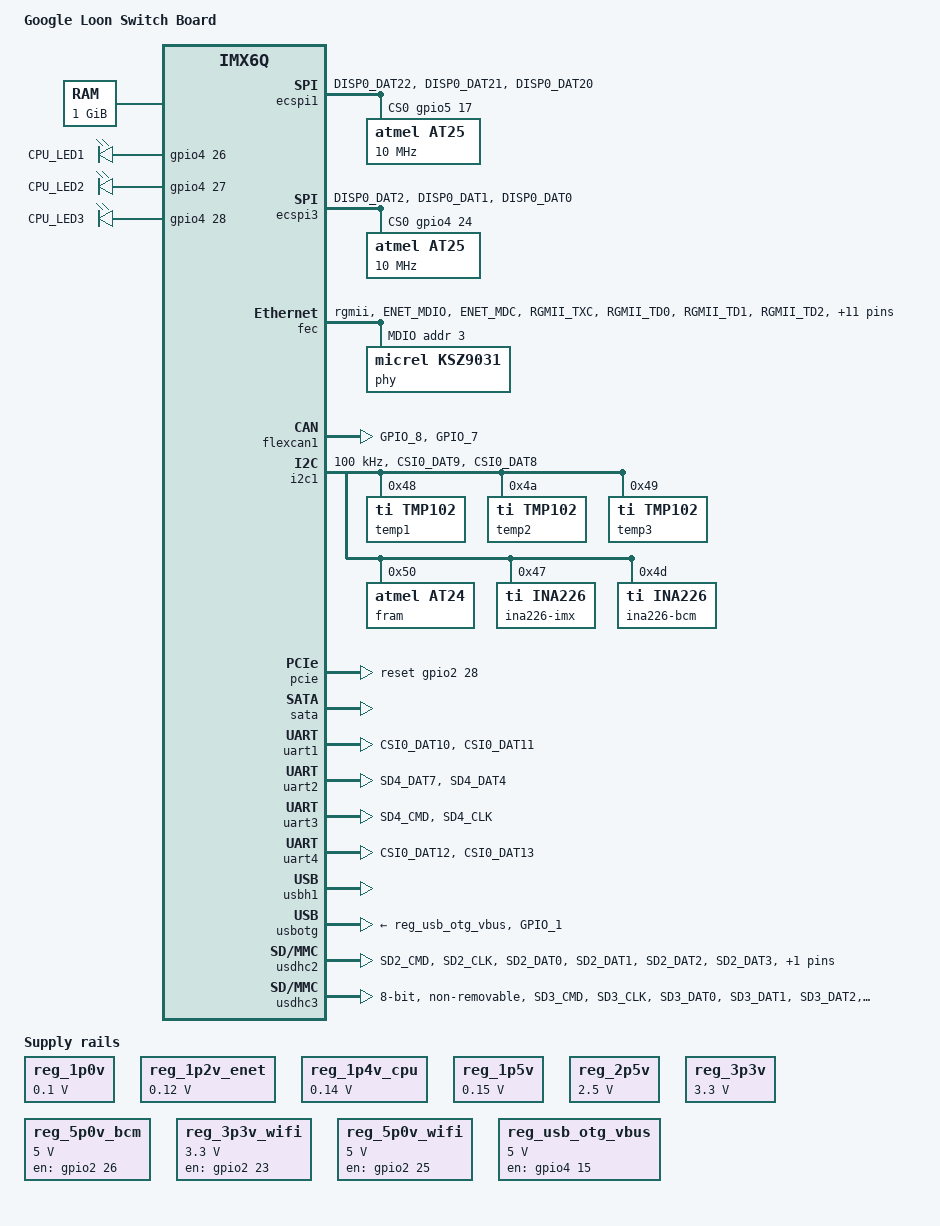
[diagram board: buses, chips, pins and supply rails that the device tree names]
/*
 * Copyright 2016 Google, Inc.
 *
 * Author: Warranyu Walton <wwalton@celerityeds.com>
 *
 * This program is free software; you can redistribute it and/or modify
 * it under the terms of the GNU General Public License version 2 as
 * published by the Free Software Foundation.
 *
 */

/dts-v1/;
#include "imx6q.dtsi"
#include <dt-bindings/gpio/gpio.h>

/ {
	model = "Google Loon Switch Board";
	compatible = "fsl,imx6q-loonswitch", "fsl,imx6q";

	memory {
		reg = <0x10000000 0x40000000>;
	};

	leds {
		compatible = "gpio-leds";
		cpu-led1 {
			label = "CPU_LED1";
			gpios = <&gpio4 26 0>;
		};
		cpu-led2 {
			label = "CPU_LED2";
			gpios = <&gpio4 27 0>;
		};
		cpu-led3 {
			label = "CPU_LED3";
			gpios = <&gpio4 28 0>;
		};
	};

	regulators {
		compatible = "simple-bus";
		#address-cells = <1>;
		#size-cells = <0>;

		reg_1p0v: regulator@0 {
			compatible = "regulator-fixed";
			reg = <0>;
			regulator-name = "1P0V";
			regulator-min-microvolt = <100000>;
			regulator-max-microvolt = <100000>;
			regulator-always-on;
		};

		reg_1p2v_enet: regulator@1 {
			compatible = "regulator-fixed";
			reg = <1>;
			regulator-name = "ENET_1P2V";
			regulator-min-microvolt = <120000>;
			regulator-max-microvolt = <120000>;
			regulator-always-on;
		};

		reg_1p4v_cpu: regulator@2 {
			compatible = "regulator-fixed";
			reg = <2>;
			regulator-name = "CPU_1P4V";
			regulator-min-microvolt = <140000>;
			regulator-max-microvolt = <140000>;
			regulator-always-on;
		};

		reg_1p5v: regulator@3 {
			compatible = "regulator-fixed";
			reg = <3>;
			regulator-name = "1P5V";
			regulator-min-microvolt = <150000>;
			regulator-max-microvolt = <150000>;
			regulator-always-on;
		};

		reg_2p5v: regulator@4 {
			compatible = "regulator-fixed";
			reg = <4>;
			regulator-name = "2P5V";
			regulator-min-microvolt = <2500000>;
			regulator-max-microvolt = <2500000>;
			regulator-always-on;
		};

		reg_3p3v: regulator@5 {
			compatible = "regulator-fixed";
			reg = <5>;
			regulator-name = "3P3V";
			regulator-min-microvolt = <3300000>;
			regulator-max-microvolt = <3300000>;
			regulator-always-on;
		};

		reg_5p0v_bcm: regulator@6 {
			compatible = "regulator-fixed";
			reg = <6>;
			regulator-name = "BCM_5P0V";
			regulator-min-microvolt = <5000000>;
			regulator-max-microvolt = <5000000>;
			gpio = <&gpio2 26 0>;
			enable-active-high;
		};

		reg_3p3v_wifi: regulator@7 {
			compatible = "regulator-fixed";
			reg = <7>;
			regulator-name = "WIFI_3P3V";
			regulator-min-microvolt = <3300000>;
			regulator-max-microvolt = <3300000>;
			gpio = <&gpio2 23 0>;
			enable-active-high;
		};

		reg_5p0v_wifi: regulator@8 {
			compatible = "regulator-fixed";
			reg = <8>;
			regulator-name = "WIFI_5P0V";
			regulator-min-microvolt = <5000000>;
			regulator-max-microvolt = <5000000>;
			gpio = <&gpio2 25 0>;
			enable-active-high;
		};

		reg_usb_otg_vbus: regulator@9 {
			compatible = "regulator-fixed";
			reg = <9>;
			regulator-name = "usb_otg_vbus";
			regulator-min-microvolt = <5000000>;
			regulator-max-microvolt = <5000000>;
			gpio = <&gpio4 15 0>;
			enable-active-high;
		};
	};
};

&ecspi1 {
	fsl,spi-num-chipselects = <1>;
	cs-gpios = <&gpio5 17 0>;
	pinctrl-names = "default";
	pinctrl-0 = <&pinctrl_ecspi1>;
	status = "okay";

	at25@0x00 {
		compatible = "atmel,at25", "st,m95256";
		reg = <0>;
		spi-max-frequency = <10000000>;
		spi-cpha;
		spi-cpol;

		pagesize = <64>;
		size = <131072>;
		address-width = <16>;
	};

};

&ecspi3 {
	fsl,spi-num-chipselects = <1>;
	cs-gpios = <&gpio4 24 0>;
	pinctrl-names = "default";
	pinctrl-0 = <&pinctrl_ecspi3>;
	status = "okay";

	at25@0x00 {
		compatible = "atmel,at25", "st,m95256";
		reg = <0>;
		spi-max-frequency = <10000000>;
		spi-cpha;
		spi-cpol;
		read-only;

		pagesize = <64>;
		size = <262144>;
		address-width = <16>;
	};	
};

&fec {
	pinctrl-names = "default";
	pinctrl-0 = <&pinctrl_enet>;
	phy-mode = "rgmii";
	status = "okay";
	phy-reset-gpios = <&gpio1 25 0>;
	local-mac-address = [00 0A 35 00 01 24];
	mdio {
		#address-cells = <1>;
		#size-cells = <0>;

		phy: phy@3{
			compatible = "micrel,ksz9031";
			device_type = "ethernet-phy";
			reg = <0x3>;
		};
	};
};

&flexcan1 {
	pinctrl-names = "default";
	pinctrl-0 = <&pinctrl_flexcan1>;
	status = "okay";
};

&i2c1 {
	clock-frequency = <100000>;
	pinctrl-names = "default";
	pinctrl-0 = <&pinctrl_i2c1>;
	status = "okay";

	temp1: tmp102@48 {
		compatible = "ti,tmp102";
		reg = <0x48>;
	};

	temp2: tmp102@4A {
		compatible = "ti,tmp102";
		reg = <0x4A>;
	};

	temp3: tmp102@49 {
		compatible = "ti,tmp102";
		reg = <0x49>;
	};

	fram: eeprom@50 {
	compatible = "atmel,at24";
	reg = <0x50>;
	pagesize = <256>;
	};

	ina226-imx@47 {
		compatible = "ti,ina226";
		reg = <0x47>;
		shunt-resistor = <7000>;
	};

	ina226-bcm@4D {
	compatible = "ti,ina226";
	reg = <0x4D>;
	shunt-resistor = <12000>;
	};

};


&iomuxc {

	uart1 {
		pinctrl_uart1: uart1grp {
			fsl,pins = <
				MX6QDL_PAD_CSI0_DAT10__UART1_TX_DATA	0x1b0b1
				MX6QDL_PAD_CSI0_DAT11__UART1_RX_DATA	0x1b0b1
			>;
		};
	};

	uart2 {
		pinctrl_uart2: uart2grp {
			fsl,pins = <
				MX6QDL_PAD_SD4_DAT7__UART2_TX_DATA	0x1b0b1
				MX6QDL_PAD_SD4_DAT4__UART2_RX_DATA	0x1b0b1
			>;
		};
	};

	uart3 {
		pinctrl_uart3: uart3grp {
			fsl,pins = <
				MX6QDL_PAD_SD4_CMD__UART3_TX_DATA	0x1b0b1
				MX6QDL_PAD_SD4_CLK__UART3_RX_DATA	0x1b0b1
			>;
		};
	};

	uart4 {
		pinctrl_uart4: uart4grp {
			fsl,pins = <
				MX6QDL_PAD_CSI0_DAT12__UART4_TX_DATA	0x1b0b1
				MX6QDL_PAD_CSI0_DAT13__UART4_RX_DATA	0x1b0b1
			>;
		};
	};


	i2c1 {
		pinctrl_i2c1: i2c1grp {
			fsl,pins = <
				MX6QDL_PAD_CSI0_DAT9__I2C1_SCL  0x4001b8b1
				MX6QDL_PAD_CSI0_DAT8__I2C1_SDA  0x4001b8b1
			>;
		};
	};

	i2c2 {
		pinctrl_i2c2: i2c2grp {
			fsl,pins = <
				MX6QDL_PAD_KEY_COL3__I2C2_SCL  0x4001b8b1
				MX6QDL_PAD_KEY_ROW3__I2C2_SDA  0x4001b8b1
			>;
		};
	};

	i2c3 {
		pinctrl_i2c3: i2c3grp {
			fsl,pins = <
				MX6QDL_PAD_GPIO_5__I2C3_SCL  0x4001b8b1
				MX6QDL_PAD_GPIO_6__I2C3_SDA  0x4001b8b1
			>;
		};
	};

	usdhc2 {
		pinctrl_usdhc2: usdhc2grp {
			fsl,pins = <
				MX6QDL_PAD_SD2_CMD__SD2_CMD    0x17059
				MX6QDL_PAD_SD2_CLK__SD2_CLK    0x10059
				MX6QDL_PAD_SD2_DAT0__SD2_DATA0 0x17059
				MX6QDL_PAD_SD2_DAT1__SD2_DATA1 0x17059
				MX6QDL_PAD_SD2_DAT2__SD2_DATA2 0x17059
				MX6QDL_PAD_SD2_DAT3__SD2_DATA3 0x17059
			>;
		};
	};

	usdhc3 {
		pinctrl_usdhc3: usdhc3grp {
			fsl,pins = <
				MX6QDL_PAD_SD3_CMD__SD3_CMD 0x170F9
				MX6QDL_PAD_SD3_CLK__SD3_CLK 0x100F9
				MX6QDL_PAD_SD3_DAT0__SD3_DATA0 0x170F9
				MX6QDL_PAD_SD3_DAT1__SD3_DATA1 0x170F9
				MX6QDL_PAD_SD3_DAT2__SD3_DATA2 0x170F9
				MX6QDL_PAD_SD3_DAT3__SD3_DATA3 0x170F9
				MX6QDL_PAD_SD3_DAT4__SD3_DATA4 0x170F9
				MX6QDL_PAD_SD3_DAT5__SD3_DATA5 0x170F9
				MX6QDL_PAD_SD3_DAT6__SD3_DATA6 0x170F9
				MX6QDL_PAD_SD3_DAT7__SD3_DATA7 0x170F9
			>;
		};
	};

	pinctrl_usbotg: usbotggrp {
			fsl,pins = <
				MX6QDL_PAD_GPIO_1__USB_OTG_ID		0x17059
			>;
		};

	ecspi1 {

		pinctrl_ecspi1_cs: ecspi1_cs_grp {
			fsl,pins = <
				MX6QDL_PAD_DISP0_DAT23__GPIO5_IO17 0x80000000
			>;
		};

		pinctrl_ecspi1: ecspi1grp {
			fsl,pins = <
				MX6QDL_PAD_DISP0_DAT22__ECSPI1_MISO 0x100b1
				MX6QDL_PAD_DISP0_DAT21__ECSPI1_MOSI 0x100b1
				MX6QDL_PAD_DISP0_DAT20__ECSPI1_SCLK 0x100b1
			>;
		};
	};

	ecspi3 {

		pinctrl_ecspi3_cs: ecspi3_cs_grp {
			fsl,pins = <
				MX6QDL_PAD_DISP0_DAT3__GPIO4_IO24 0x80000000
			>;
		};

		pinctrl_ecspi3: ecspi3grp {
			fsl,pins = <
				MX6QDL_PAD_DISP0_DAT2__ECSPI3_MISO 0x100b1
				MX6QDL_PAD_DISP0_DAT1__ECSPI3_MOSI 0x100b1
				MX6QDL_PAD_DISP0_DAT0__ECSPI3_SCLK 0x100b1
			>;
		};
	};

	enet {

		pinctrl_enet: enetgrp {
			fsl,pins = <
				MX6QDL_PAD_ENET_MDIO__ENET_MDIO       0x1b0b0
				MX6QDL_PAD_ENET_MDC__ENET_MDC         0x1b0b0
				MX6QDL_PAD_RGMII_TXC__RGMII_TXC       0x1b0b0
				MX6QDL_PAD_RGMII_TD0__RGMII_TD0       0x1b0b0
				MX6QDL_PAD_RGMII_TD1__RGMII_TD1       0x1b0b0
				MX6QDL_PAD_RGMII_TD2__RGMII_TD2       0x1b0b0
				MX6QDL_PAD_RGMII_TD3__RGMII_TD3       0x1b0b0
				MX6QDL_PAD_RGMII_TX_CTL__RGMII_TX_CTL 0x1b0b0
				MX6QDL_PAD_ENET_REF_CLK__ENET_TX_CLK  0x1b0b0
				MX6QDL_PAD_RGMII_RXC__RGMII_RXC       0x1b0b0
				MX6QDL_PAD_RGMII_RD0__RGMII_RD0       0x1b0b0
				MX6QDL_PAD_RGMII_RD1__RGMII_RD1       0x1b0b0
				MX6QDL_PAD_RGMII_RD2__RGMII_RD2       0x1b0b0
				MX6QDL_PAD_RGMII_RD3__RGMII_RD3       0x1b0b0
				MX6QDL_PAD_RGMII_RX_CTL__RGMII_RX_CTL 0x1b0b0
				MX6QDL_PAD_ENET_CRS_DV__GPIO1_IO25    0x80000000
			>;
		};
	};

	flexcan1 {
		pinctrl_flexcan1: flexcan1grp {
			fsl,pins = <
				MX6QDL_PAD_GPIO_8__FLEXCAN1_RX 0x80000000
				MX6QDL_PAD_GPIO_7__FLEXCAN1_TX 0x80000000
			>;
		};
	};
};

&pcie {
	reset-gpio = <&gpio2 28 0>;	
	status = "okay";
};

&sata {
	status = "okay";
};

&uart1 {
	pinctrl-names = "default";
	pinctrl-0 = <&pinctrl_uart1>;
	status = "okay";
};

&uart2 {
	pinctrl-names = "default";
	pinctrl-0 = <&pinctrl_uart2>;
	status = "okay";
};

&uart3 {
	pinctrl-names = "default";
	pinctrl-0 = <&pinctrl_uart3>;
	status = "okay";
};

&uart4 {
	pinctrl-names = "default";
	pinctrl-0 = <&pinctrl_uart4>;
	status = "okay";
};

&usbh1 {
	status = "okay";
};

&usbotg {
	vbus-supply = <&reg_usb_otg_vbus>;
	pinctrl-names = "default";
	pinctrl-0 = <&pinctrl_usbotg>;
	disable-over-current;
	srp-disable;
	hnp-disable;
	adp-disable;
	status = "okay";
};

&usdhc2 {
	pinctrl-names = "default";
	pinctrl-0 = <&pinctrl_usdhc2>;
	cd-gpios = <&gpio2 2 0>;
	status = "okay";
};

&usdhc3 {
	pinctrl-names = "default";
	pinctrl-0 = <&pinctrl_usdhc3>;
	bus-width = <8>;
	non-removable;
	status = "okay";
};

&cpu0 {
    arm-supply = <&reg_arm>;
    soc-supply = <&reg_soc>;
    pu-supply = <&pu_dummy>; /* use pu_dummy if VDDSOC share with VDDPU */
};
 
&gpc {
    fsl,ldo-bypass = <0>; /* use ldo-bypass, u-boot will check it and configure */
    fsl,wdog-reset = <1>; /* watchdog select of reset source */
    pu-supply = <&pu_dummy>; /* ldo-bypass:use pu_dummy if VDDSOC share with VDDPU */
};
 
&gpu {
    pu-supply = <&pu_dummy>; /* ldo-bypass:use pu_dummy if VDDSOC share with VDDPU */
};
 
&vpu {
    pu-supply = <&pu_dummy>; /* ldo-bypass:use pu_dummy if VDDSOC share with VDDPU */
};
